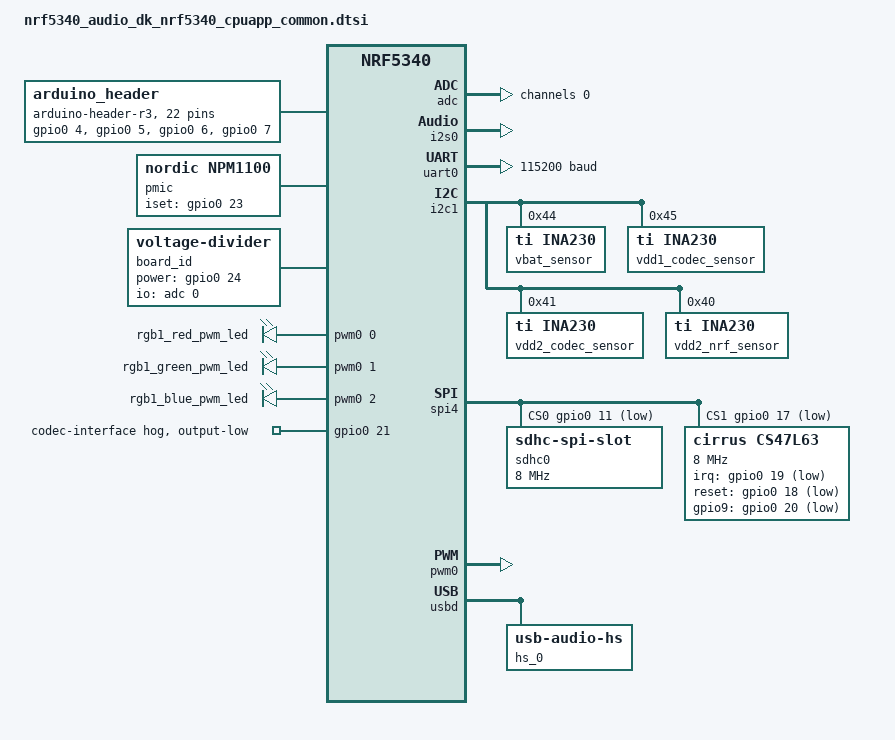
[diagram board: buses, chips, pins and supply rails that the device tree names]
/*
 * Copyright (c) 2020-2022 Nordic Semiconductor ASA
 *
 * SPDX-License-Identifier: Apache-2.0
 */
#include "nrf5340_audio_dk_nrf5340_cpuapp_common-pinctrl.dtsi"
#include <zephyr/dt-bindings/sensor/ina230.h>

/ {
	chosen {
		zephyr,console = &uart0;
		zephyr,shell-uart = &uart0;
		zephyr,uart-mcumgr = &uart0;
		zephyr,bt-mon-uart = &uart0;
		zephyr,bt-c2h-uart = &uart0;
		zephyr,bt-hci-rpmsg-ipc = &ipc0;
		watchdog0 = &wdt0;
	};

	gpio_fwd: nrf-gpio-forwarder {
		compatible = "nordic,nrf-gpio-forwarder";
		status = "okay";
		uart {
			gpios = <&gpio1 9 0>, <&gpio1 8 0>, <&gpio1 11 0>, <&gpio1 10 0>;
		};
	};

	arduino_header: connector {
		compatible = "arduino-header-r3";
		#gpio-cells = <2>;
		gpio-map-mask = <0xffffffff 0xffffffc0>;
		gpio-map-pass-thru = <0 0x3f>;
		gpio-map = <0 0 &gpio0 4 0>,	/* A0 */
			   <1 0 &gpio0 5 0>,	/* A1 */
			   <2 0 &gpio0 6 0>,	/* A2 */
			   <3 0 &gpio0 7 0>,	/* A3 */
			   <4 0 &gpio0 25 0>,	/* A4 */
			   <5 0 &gpio0 26 0>,	/* A5 */
			   <6 0 &gpio1 9 0>,	/* D0 */
			   <7 0 &gpio1 8 0>,	/* D1 */
			   <8 0 &gpio0 31 0>,	/* D2 */
			   <9 0 &gpio1 0 0>,	/* D3 */
			   <10 0 &gpio1 1 0>,	/* D4 */
			   <11 0 &gpio1 14 0>,	/* D5 */
			   <12 0 &gpio1 7 0>,	/* D6 */
			   <13 0 &gpio1 11 0>,	/* D7 */
			   <14 0 &gpio1 10 0>,	/* D8 */
			   <15 0 &gpio1 13 0>,	/* D9 */
			   <16 0 &gpio1 12 0>,	/* D10 */
			   <17 0 &gpio0 9 0>,	/* D11 */
			   <18 0 &gpio0 10 0>,	/* D12 */
			   <19 0 &gpio0 8 0>,	/* D13 */
			   <20 0 &gpio1 2 0>,	/* D14 */
			   <21 0 &gpio1 3 0>;	/* D15 */
	};

	pmic {
		compatible = "nordic,npm1100";
		nordic,iset-gpios = <&gpio0 23 GPIO_ACTIVE_HIGH>;
	};

	board_id: board_id {
		compatible = "voltage-divider";
		io-channels = <&adc 0>;
		output-ohms = <20000>;
		full-ohms = <47000>;
		power-gpios = <&gpio0 24 GPIO_ACTIVE_HIGH>;
	};

	pwmleds {
		compatible = "pwm-leds";
		rgb1_red_pwm_led: pwm_led_0 {
			pwms = <&pwm0 0 PWM_MSEC(20) PWM_POLARITY_NORMAL>;
		};
		rgb1_green_pwm_led: pwm_led_1 {
			pwms = <&pwm0 1 PWM_MSEC(20) PWM_POLARITY_NORMAL>;
		};
		rgb1_blue_pwm_led: pwm_led_2 {
			pwms = <&pwm0 2 PWM_MSEC(20) PWM_POLARITY_NORMAL>;
		};
	};

	aliases {
		pwm-led0 = &rgb1_red_pwm_led;
		pwm-led1 = &rgb1_green_pwm_led;
		pwm-led2 = &rgb1_blue_pwm_led;
		red-pwm-led = &rgb1_red_pwm_led;
		green-pwm-led = &rgb1_green_pwm_led;
		blue-pwm-led = &rgb1_blue_pwm_led;
	};
};

&adc {
	status = "okay";
	#address-cells = <1>;
	#size-cells = <0>;

	channel@0 {
		reg = <0>;
		zephyr,gain = "ADC_GAIN_1_4";
		zephyr,reference = "ADC_REF_VDD_1_4";
		zephyr,acquisition-time = <ADC_ACQ_TIME(ADC_ACQ_TIME_MICROSECONDS, 40)>;
		zephyr,input-positive = <NRF_SAADC_AIN6>;
		zephyr,resolution = <12>;
		zephyr,oversampling = <8>;
	};
};

&gpiote {
	status = "okay";
};

&gpio0 {
	status = "okay";

	codec-interface {
		gpio-hog;
		gpios = <21 GPIO_ACTIVE_HIGH>;
		/* low output to select on-board codec control */
		output-low;
	};
};

&gpio1 {
	status = "okay";
};

&i2s0 {
	compatible = "nordic,nrf-i2s";
	status = "okay";
	pinctrl-0 = <&i2s0_default>;
	pinctrl-1 = <&i2s0_sleep>;
	pinctrl-names = "default", "sleep";
};

&uart0 {
	status = "okay";
	current-speed = <115200>;
	pinctrl-0 = <&uart0_default>;
	pinctrl-1 = <&uart0_sleep>;
	pinctrl-names = "default", "sleep";
};

&i2c1 {
	compatible = "nordic,nrf-twim";
	status = "okay";
	pinctrl-0 = <&i2c1_default>;
	pinctrl-1 = <&i2c1_sleep>;
	pinctrl-names = "default", "sleep";

	vbat_sensor: ina231@44 {
		compatible = "ti,ina230";
		reg = <0x44>;
		config = <INA230_CONFIG(INA230_OPER_MODE_SHUNT_BUS_VOLTAGE_CONT,
					INA230_CONV_TIME_4156,
					INA230_CONV_TIME_4156,
					INA230_AVG_MODE_1024)>;
		current-lsb-microamps = <1>;
		rshunt-milliohms = <510>;
	};

	vdd1_codec_sensor: ina231@45 {
		compatible = "ti,ina230";
		reg = <0x45>;
		config = <INA230_CONFIG(INA230_OPER_MODE_SHUNT_BUS_VOLTAGE_CONT,
					INA230_CONV_TIME_4156,
					INA230_CONV_TIME_4156,
					INA230_AVG_MODE_1024)>;
		current-lsb-microamps = <1>;
		rshunt-milliohms = <2200>;
	};

	vdd2_codec_sensor: ina231@41 {
		compatible = "ti,ina230";
		reg = <0x41>;
		config = <INA230_CONFIG(INA230_OPER_MODE_SHUNT_BUS_VOLTAGE_CONT,
					INA230_CONV_TIME_4156,
					INA230_CONV_TIME_4156,
					INA230_AVG_MODE_1024)>;
		current-lsb-microamps = <1>;
		rshunt-milliohms = <2200>;
	};

	vdd2_nrf_sensor: ina231@40 {
		compatible = "ti,ina230";
		reg = <0x40>;
		config = <INA230_CONFIG(INA230_OPER_MODE_SHUNT_BUS_VOLTAGE_CONT,
					INA230_CONV_TIME_4156,
					INA230_CONV_TIME_4156,
					INA230_AVG_MODE_1024)>;
		current-lsb-microamps = <1>;
		rshunt-milliohms = <1000>;
	};
};

&spi4 {
	compatible = "nordic,nrf-spim";
	status = "okay";
	cs-gpios = <&gpio0 11 GPIO_ACTIVE_LOW>, <&gpio0 17 GPIO_ACTIVE_LOW>;
	pinctrl-0 = <&spi4_default>;
	pinctrl-1 = <&spi4_sleep>;
	pinctrl-names = "default", "sleep";
	sdhc0: sdhc@0 {
		compatible = "zephyr,sdhc-spi-slot";
		reg = <0>;
		status = "okay";
		sdmmc {
			compatible = "zephyr,sdmmc-disk";
			status = "okay";
		};

		spi-max-frequency = <8000000>;
	};

	cs47l63: cs47l63@1 {
		compatible = "cirrus,cs47l63";
		reg = <1>;
		spi-max-frequency = <8000000>;
		irq-gpios = <&gpio0 19 GPIO_ACTIVE_LOW>;
		reset-gpios = <&gpio0 18 GPIO_ACTIVE_LOW>;
		gpio9-gpios = <&gpio0 20 GPIO_ACTIVE_LOW>;
	};
};

&pwm0 {
	status = "okay";
	pinctrl-0 = <&pwm0_default>;
	pinctrl-1 = <&pwm0_sleep>;
	pinctrl-names = "default", "sleep";
};

&flash0 {
	partitions {
		compatible = "fixed-partitions";
		#address-cells = <1>;
		#size-cells = <1>;

		boot_partition: partition@0 {
			label = "mcuboot";
			reg = <0x00000000 0x00010000>;
		};
		slot0_partition: partition@10000 {
			label = "image-0";
		};
		slot0_ns_partition: partition@50000 {
			label = "image-0-nonsecure";
		};
		slot1_partition: partition@80000 {
			label = "image-1";
		};
		slot1_ns_partition: partition@c0000 {
			label = "image-1-nonsecure";
		};
		storage_partition: partition@fa000 {
			label = "storage";
			reg = <0x000fa000 0x00006000>;
		};
	};
};

/ {
	reserved-memory {
		#address-cells = <1>;
		#size-cells = <1>;
		ranges;

		sram0_image: image@20000000 {
			/* Zephyr image(s) memory */
		};

		sram0_s: image_s@20000000 {
			/* Secure image memory */
		};

		sram0_ns: image_ns@20040000 {
			/* Non-Secure image memory */
		};
	};
};

zephyr_udc0: &usbd {
	compatible = "nordic,nrf-usbd";
	status = "okay";

	hs_0: hs_0 {
		compatible = "usb-audio-hs";
		mic-feature-mute;
		mic-channel-l;
		mic-channel-r;

		hp-feature-mute;
		hp-channel-l;
		hp-channel-r;
	};
};

/* Include partition configuration file */
#include "nrf5340_audio_dk_nrf5340_cpuapp_partition_conf.dtsi"
#include "nrf5340_audio_dk_nrf5340_shared.dtsi"
